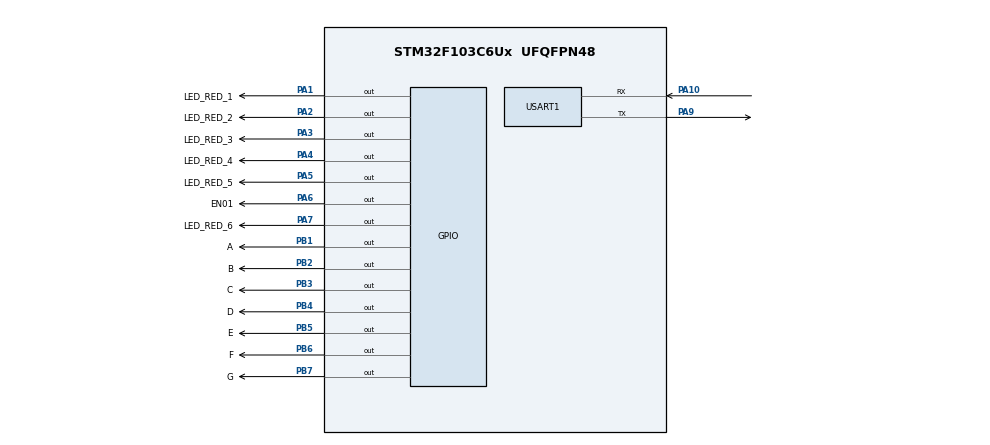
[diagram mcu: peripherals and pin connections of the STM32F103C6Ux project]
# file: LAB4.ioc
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Mcu.Family=STM32F1
Mcu.Name=STM32F103C6Ux
Mcu.Package=UFQFPN48
NVIC.PriorityGroup=NVIC_PRIORITYGROUP_4
NVIC.TIM2_IRQn=true\:0\:0\:false\:false\:true\:true\:true
NVIC.USART1_IRQn=true\:0\:0\:false\:false\:true\:true\:true
PA1.GPIO_Label=LED_RED_1
PA1.Signal=GPIO_Output
PA10.Mode=Asynchronous
PA10.Signal=USART1_RX
PA2.GPIO_Label=LED_RED_2
PA2.Signal=GPIO_Output
PA3.GPIO_Label=LED_RED_3
PA3.Signal=GPIO_Output
PA4.GPIO_Label=LED_RED_4
PA4.Signal=GPIO_Output
PA5.GPIO_Label=LED_RED_5
PA5.Signal=GPIO_Output
PA6.GPIO_Label=EN01
PA6.Signal=GPIO_Output
PA7.GPIO_Label=LED_RED_6
PA7.Signal=GPIO_Output
PA9.Mode=Asynchronous
PA9.Signal=USART1_TX
PB1.GPIO_Label=A
PB1.Signal=GPIO_Output
PB2.GPIO_Label=B
PB2.Signal=GPIO_Output
PB3.GPIO_Label=C
PB3.Signal=GPIO_Output
PB4.GPIO_Label=D
PB4.Signal=GPIO_Output
PB5.GPIO_Label=E
PB5.Signal=GPIO_Output
PB6.GPIO_Label=F
PB6.Signal=GPIO_Output
PB7.GPIO_Label=G
PB7.Signal=GPIO_Output
ProjectManager.HeapSize=0x200
ProjectManager.StackSize=0x400
ProjectManager.TargetToolchain=STM32CubeIDE
RCC.APB1Freq_Value=8000000
RCC.APB2Freq_Value=8000000
TIM2.Period=9
TIM2.Prescaler=7999
USART1.VirtualMode=VM_ASYNC
VP_SYS_VS_ND.Mode=No_Debug
VP_TIM2_VS_ClockSourceINT.Mode=Internal
board=custom

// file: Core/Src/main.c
/* USER CODE BEGIN Header */
/**
  ******************************************************************************
  * @file           : main.c
  * @brief          : Main program body
  ******************************************************************************
  * @attention
  *
  * <h2><center>&copy; Copyright (c) 2025 STMicroelectronics.
  * All rights reserved.</center></h2>
  *
  * This software component is licensed by ST under BSD 3-Clause license,
  * the "License"; You may not use this file except in compliance with the
  * License. You may obtain a copy of the License at:
  *                        opensource.org/licenses/BSD-3-Clause
  *
  *******************************************************************************
  */
/* USER CODE END Header */
#include "main.h"

/* USER CODE BEGIN Includes */
//#include "scheduler.h"
#include "scheduler_o1.h"
#include "stdio.h"
#include "string.h"
/* USER CODE END Includes */

TIM_HandleTypeDef htim2;

UART_HandleTypeDef huart1;

/* USER CODE BEGIN PV */
volatile uint32_t g_system_time_ms = -10;
/* USER CODE END PV */

void SystemClock_Config(void);
static void MX_GPIO_Init(void);
static void MX_TIM2_Init(void);
static void MX_USART1_Init(void);

/* USER CODE BEGIN 0 */

uint32_t get_time(void) {
    return g_system_time_ms;
}

void Task_Print_Time(void) {
    uint32_t time_ms = get_time();

    char tx_buffer[50];
    sprintf(tx_buffer, "Time: %lu ms\r\n", time_ms);

    HAL_UART_Transmit(&huart1, (uint8_t*)tx_buffer, strlen(tx_buffer), 100);
}

void print_log(const char* message) {
    char tx_buffer[100];
    sprintf(tx_buffer, "[%lu] %s\r\n", get_time(), message);
    HAL_UART_Transmit(&huart1, (uint8_t*)tx_buffer, strlen(tx_buffer), 100);
}

void Task1_Run(void) {
	//print_log("Task 1 - Run");
	HAL_GPIO_TogglePin(LED_RED_1_GPIO_Port, LED_RED_1_Pin);
}

void Task2_Run(void) {
	//print_log("Task 2 - Run");
    HAL_GPIO_TogglePin(LED_RED_2_GPIO_Port, LED_RED_2_Pin);
}

void Task3_Run(void) {
	//print_log("Task 3 - Run");
    HAL_GPIO_TogglePin(LED_RED_3_GPIO_Port, LED_RED_3_Pin);
}

void Task4_Run(void) {
	//print_log("Task 4 - Run");
    HAL_GPIO_TogglePin(LED_RED_4_GPIO_Port, LED_RED_4_Pin);
}

void Task5_Run(void) {
	//print_log("Task 5 - Run");
    HAL_GPIO_TogglePin(LED_RED_5_GPIO_Port, LED_RED_5_Pin);
}

void Task6_Run(void) {
	print_log("Task 6 - Run");
    HAL_GPIO_TogglePin(LED_RED_6_GPIO_Port, LED_RED_6_Pin);
}
/* USER CODE END 0 */

int main(void)
{

  /* MCU Configuration--------------------------------------------------------*/

  /* Reset of all peripherals, Initializes the Flash interface and the Systick. */
  HAL_Init();

  /* Configure the system clock */
  SystemClock_Config();

  /* Initialize all configured peripherals */
  MX_GPIO_Init();
  MX_TIM2_Init();
  MX_USART1_Init();
  /* USER CODE BEGIN 2 */
  SCH_Init();

  SCH_Add_Task(Task1_Run, 0, 50);

  SCH_Add_Task(Task2_Run, 1, 100);

	SCH_Add_Task(Task3_Run, 2, 150);

	SCH_Add_Task(Task4_Run, 3, 200);

	SCH_Add_Task(Task5_Run, 4, 250);
	//one-shot
	SCH_Add_Task(Task6_Run, 500, 0);

	SCH_Add_Task(Task_Print_Time, 0, 50);
	  HAL_TIM_Base_Start_IT(&htim2);
  /* USER CODE END 2 */

  /* Infinite loop */
  /* USER CODE BEGIN WHILE */
  while (1)
  {
	  SCH_Dispatch_Tasks();
    /* USER CODE END WHILE */

  }
}

void SystemClock_Config(void)
{
  RCC_OscInitTypeDef RCC_OscInitStruct = {0};
  RCC_ClkInitTypeDef RCC_ClkInitStruct = {0};

  /** Initializes the RCC Oscillators according to the specified parameters
  * in the RCC_OscInitTypeDef structure.
  */
  RCC_OscInitStruct.OscillatorType = RCC_OSCILLATORTYPE_HSI;
  RCC_OscInitStruct.HSIState = RCC_HSI_ON;
  RCC_OscInitStruct.HSICalibrationValue = RCC_HSICALIBRATION_DEFAULT;
  RCC_OscInitStruct.PLL.PLLState = RCC_PLL_NONE;
  if (HAL_RCC_OscConfig(&RCC_OscInitStruct) != HAL_OK)
  {
    Error_Handler();
  }
  /** Initializes the CPU, AHB and APB buses clocks
  */
  RCC_ClkInitStruct.ClockType = RCC_CLOCKTYPE_HCLK|RCC_CLOCKTYPE_SYSCLK
                              |RCC_CLOCKTYPE_PCLK1|RCC_CLOCKTYPE_PCLK2;
  RCC_ClkInitStruct.SYSCLKSource = RCC_SYSCLKSOURCE_HSI;
  RCC_ClkInitStruct.AHBCLKDivider = RCC_SYSCLK_DIV1;
  RCC_ClkInitStruct.APB1CLKDivider = RCC_HCLK_DIV1;
  RCC_ClkInitStruct.APB2CLKDivider = RCC_HCLK_DIV1;

  if (HAL_RCC_ClockConfig(&RCC_ClkInitStruct, FLASH_LATENCY_0) != HAL_OK)
  {
    Error_Handler();
  }
}

static void MX_TIM2_Init(void)
{

  TIM_ClockConfigTypeDef sClockSourceConfig = {0};
  TIM_MasterConfigTypeDef sMasterConfig = {0};

  htim2.Instance = TIM2;
  htim2.Init.Prescaler = 7999;
  htim2.Init.CounterMode = TIM_COUNTERMODE_UP;
  htim2.Init.Period = 9;
  htim2.Init.ClockDivision = TIM_CLOCKDIVISION_DIV1;
  htim2.Init.AutoReloadPreload = TIM_AUTORELOAD_PRELOAD_DISABLE;
  if (HAL_TIM_Base_Init(&htim2) != HAL_OK)
  {
    Error_Handler();
  }
  sClockSourceConfig.ClockSource = TIM_CLOCKSOURCE_INTERNAL;
  if (HAL_TIM_ConfigClockSource(&htim2, &sClockSourceConfig) != HAL_OK)
  {
    Error_Handler();
  }
  sMasterConfig.MasterOutputTrigger = TIM_TRGO_RESET;
  sMasterConfig.MasterSlaveMode = TIM_MASTERSLAVEMODE_DISABLE;
  if (HAL_TIMEx_MasterConfigSynchronization(&htim2, &sMasterConfig) != HAL_OK)
  {
    Error_Handler();
  }

}

static void MX_USART1_Init(void)
{

  huart1.Instance = USART1;
  huart1.Init.BaudRate = 115200;
  huart1.Init.WordLength = UART_WORDLENGTH_8B;
  huart1.Init.StopBits = UART_STOPBITS_1;
  huart1.Init.Parity = UART_PARITY_NONE;
  huart1.Init.Mode = UART_MODE_TX_RX;
  huart1.Init.HwFlowCtl = UART_HWCONTROL_NONE;
  huart1.Init.OverSampling = UART_OVERSAMPLING_16;
  if (HAL_UART_Init(&huart1) != HAL_OK)
  {
    Error_Handler();
  }

}

static void MX_GPIO_Init(void)
{
  GPIO_InitTypeDef GPIO_InitStruct = {0};

  /* GPIO Ports Clock Enable */
  __HAL_RCC_GPIOA_CLK_ENABLE();
  __HAL_RCC_GPIOB_CLK_ENABLE();

  /*Configure GPIO pin Output Level */
  HAL_GPIO_WritePin(GPIOA, LED_RED_1_Pin|LED_RED_2_Pin|LED_RED_3_Pin|LED_RED_4_Pin
                          |LED_RED_5_Pin|EN01_Pin|LED_RED_6_Pin, GPIO_PIN_RESET);

  /*Configure GPIO pin Output Level */
  HAL_GPIO_WritePin(GPIOB, A_Pin|B_Pin|C_Pin|D_Pin
                          |E_Pin|F_Pin|G_Pin, GPIO_PIN_RESET);

  /*Configure GPIO pins : LED_RED_1_Pin LED_RED_2_Pin LED_RED_3_Pin LED_RED_4_Pin
                           LED_RED_5_Pin EN01_Pin LED_RED_6_Pin */
  GPIO_InitStruct.Pin = LED_RED_1_Pin|LED_RED_2_Pin|LED_RED_3_Pin|LED_RED_4_Pin
                          |LED_RED_5_Pin|EN01_Pin|LED_RED_6_Pin;
  GPIO_InitStruct.Mode = GPIO_MODE_OUTPUT_PP;
  GPIO_InitStruct.Pull = GPIO_NOPULL;
  GPIO_InitStruct.Speed = GPIO_SPEED_FREQ_LOW;
  HAL_GPIO_Init(GPIOA, &GPIO_InitStruct);

  /*Configure GPIO pins : A_Pin B_Pin C_Pin D_Pin
                           E_Pin F_Pin G_Pin */
  GPIO_InitStruct.Pin = A_Pin|B_Pin|C_Pin|D_Pin
                          |E_Pin|F_Pin|G_Pin;
  GPIO_InitStruct.Mode = GPIO_MODE_OUTPUT_PP;
  GPIO_InitStruct.Pull = GPIO_NOPULL;
  GPIO_InitStruct.Speed = GPIO_SPEED_FREQ_LOW;
  HAL_GPIO_Init(GPIOB, &GPIO_InitStruct);

}

/* USER CODE BEGIN 4 */
extern volatile uint32_t g_system_time_ms;

void HAL_TIM_PeriodElapsedCallback(TIM_HandleTypeDef *htim){
	SCH_Update();
	g_system_time_ms += 10;
}
/* USER CODE END 4 */

void Error_Handler(void)
{
  __disable_irq();
  while (1)
  {
  }
}

/************************ (C) COPYRIGHT STMicroelectronics *****END OF FILE****/
